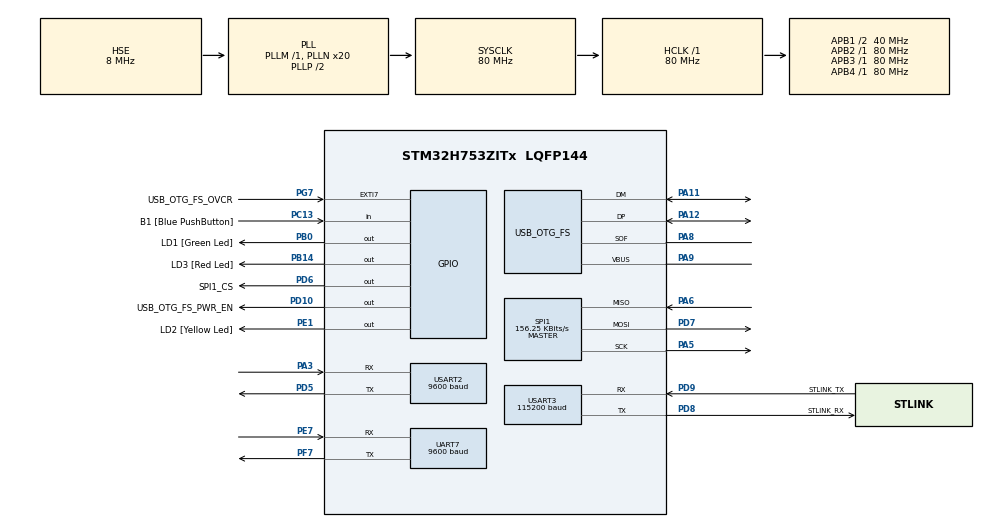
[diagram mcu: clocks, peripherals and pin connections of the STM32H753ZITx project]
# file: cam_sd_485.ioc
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CORTEX_M7.CPU_DCache=Disabled
CORTEX_M7.CPU_ICache=Disabled
CORTEX_M7.MPU_Control=__NULL
Dma.Request0=UART7_RX
Dma.UART7_RX.0.Direction=DMA_PERIPH_TO_MEMORY
Dma.UART7_RX.0.EventEnable=DISABLE
Dma.UART7_RX.0.FIFOMode=DMA_FIFOMODE_DISABLE
Dma.UART7_RX.0.Instance=DMA1_Stream0
Dma.UART7_RX.0.MemDataAlignment=DMA_MDATAALIGN_BYTE
Dma.UART7_RX.0.MemInc=DMA_MINC_ENABLE
Dma.UART7_RX.0.Mode=DMA_CIRCULAR
Dma.UART7_RX.0.PeriphDataAlignment=DMA_PDATAALIGN_BYTE
Dma.UART7_RX.0.PeriphInc=DMA_PINC_DISABLE
Dma.UART7_RX.0.Polarity=HAL_DMAMUX_REQ_GEN_RISING
Dma.UART7_RX.0.Priority=DMA_PRIORITY_LOW
Dma.UART7_RX.0.RequestNumber=1
Dma.UART7_RX.0.SignalID=NONE
Dma.UART7_RX.0.SyncEnable=DISABLE
Dma.UART7_RX.0.SyncPolarity=HAL_DMAMUX_SYNC_NO_EVENT
Dma.UART7_RX.0.SyncRequestNumber=1
Dma.UART7_RX.0.SyncSignalID=NONE
FATFS._USE_LFN=1
Mcu.Family=STM32H7
Mcu.Name=STM32H753ZITx
Mcu.Package=LQFP144
NVIC.DMA1_Stream0_IRQn=true\:0\:0\:false\:false\:true\:false\:true\:true
NVIC.PriorityGroup=NVIC_PRIORITYGROUP_4
NVIC.UART7_IRQn=true\:0\:0\:false\:false\:true\:true\:true\:true
PA1.Signal=ETH_REF_CLK
PA11.Mode=Device_Only
PA11.Signal=USB_OTG_FS_DM
PA12.Mode=Device_Only
PA12.Signal=USB_OTG_FS_DP
PA2.Signal=ETH_MDIO
PA3.Mode=Asynchronous
PA3.Signal=USART2_RX
PA5.Mode=Full_Duplex_Master
PA5.Signal=SPI1_SCK
PA6.Mode=Full_Duplex_Master
PA6.Signal=SPI1_MISO
PA7.Signal=ETH_CRS_DV
PA8.Mode=Activate_SOF_FS
PA8.Signal=USB_OTG_FS_SOF
PA9.Mode=Activate_VBUS
PA9.Signal=USB_OTG_FS_VBUS
PB0.GPIO_Label=LD1 [Green Led]
PB0.Signal=GPIO_Output
PB13.Signal=ETH_TXD1
PB14.GPIO_Label=LD3 [Red Led]
PB14.Signal=GPIO_Output
PC1.Signal=ETH_MDC
PC13.GPIO_Label=B1 [Blue PushButton]
PC13.Signal=GPIO_Input
PC14-OSC32_IN\ (OSC32_IN).Mode=LSE-External-Oscillator
PC14-OSC32_IN\ (OSC32_IN).Signal=RCC_OSC32_IN
PC15-OSC32_OUT\ (OSC32_OUT).Mode=LSE-External-Oscillator
PC15-OSC32_OUT\ (OSC32_OUT).Signal=RCC_OSC32_OUT
PC4.Signal=ETH_RXD0
PC5.Signal=ETH_RXD1
PD10.GPIO_Label=USB_OTG_FS_PWR_EN
PD10.Signal=GPIO_Output
PD5.Mode=Asynchronous
PD5.Signal=USART2_TX
PD6.GPIO_Label=SPI1_CS
PD6.Signal=GPIO_Output
PD7.Mode=Full_Duplex_Master
PD7.Signal=SPI1_MOSI
PD8.GPIO_Label=STLINK_RX
PD8.Mode=Asynchronous
PD8.Signal=USART3_TX
PD9.GPIO_Label=STLINK_TX
PD9.Mode=Asynchronous
PD9.Signal=USART3_RX
PE1.GPIO_Label=LD2 [Yellow Led]
PE1.Signal=GPIO_Output
PE7.Mode=Asynchronous
PE7.Signal=UART7_RX
PF7.Mode=Asynchronous
PF7.Signal=UART7_TX
PG11.Signal=ETH_TX_EN
PG13.Signal=ETH_TXD0
PG7.GPIO_Label=USB_OTG_FS_OVCR
PG7.Signal=GPXTI7
PH0-OSC_IN\ (PH0).Mode=HSE-External-Clock-Source
PH0-OSC_IN\ (PH0).Signal=RCC_OSC_IN
PH1-OSC_OUT\ (PH1).Signal=RCC_OSC_OUT
ProjectManager.HeapSize=0x200
ProjectManager.StackSize=0x400
ProjectManager.TargetToolchain=STM32CubeIDE
RCC.ADCFreq_Value=16125000
RCC.APB1Freq_Value=40000000
RCC.APB2Freq_Value=80000000
RCC.APB3Freq_Value=80000000
RCC.APB4Freq_Value=80000000
RCC.CortexFreq_Value=80000000
RCC.D2PPRE1=RCC_APB1_DIV2
RCC.DIVM1=1
RCC.DIVN1=20
RCC.DIVQ1=4
RCC.HCLKFreq_Value=80000000
RCC.HSE_VALUE=8000000
RCC.PLL2FRACN=0
RCC.PLL3FRACN=0
RCC.PLL3_VCO_SEL-AdvancedSettings=RCC_PLL3VCOMEDIUM
RCC.PLLFRACN=0
RCC.PWR_Regulator_Voltage_Scale=PWR_REGULATOR_VOLTAGE_SCALE2
RCC.SYSCLKFreq_VALUE=80000000
RCC.SYSCLKSource=RCC_SYSCLKSOURCE_PLLCLK
RCC.USBFreq_Value=40000000
SPI1.BaudRatePrescaler=SPI_BAUDRATEPRESCALER_256
SPI1.CalculateBaudRate=156.25 KBits/s
SPI1.DataSize=SPI_DATASIZE_8BIT
SPI1.Direction=SPI_DIRECTION_2LINES
SPI1.Mode=SPI_MODE_MASTER
SPI1.VirtualType=VM_MASTER
UART7.BaudRate=9600
UART7.FIFOMode=FIFOMODE_DISABLE
USART2.BaudRate=9600
USART2.VirtualMode-Asynchronous=VM_ASYNC
USART2.WordLength=WORDLENGTH_8B
USART3.AutoBaudRateEnableParam=UART_ADVFEATURE_AUTOBAUDRATE_DISABLE
USART3.BaudRate=115200
USART3.ClockPrescaler=PRESCALER_DIV1
USART3.DMADisableonRxErrorParam=ADVFEATURE_DMA_ENABLEONRXERROR
USART3.DataInvertParam=ADVFEATURE_DATAINV_DISABLE
USART3.FIFOMode=FIFOMODE_DISABLE
USART3.MSBFirstParam=ADVFEATURE_MSBFIRST_DISABLE
USART3.Mode=MODE_TX_RX
USART3.OneBitSampling=UART_ONE_BIT_SAMPLE_DISABLE
USART3.OverSampling=UART_OVERSAMPLING_16
USART3.OverrunDisableParam=ADVFEATURE_OVERRUN_ENABLE
USART3.Parity=PARITY_NONE
USART3.RXFIFOThreshold=RXFIFO_THRESHOLD_1EIGHTHFULL
USART3.RxPinLevelInvertParam=ADVFEATURE_RXINV_DISABLE
USART3.StopBits=STOPBITS_1
USART3.SwapParam=ADVFEATURE_SWAP_DISABLE
USART3.TXFIFOThreshold=TXFIFO_THRESHOLD_1EIGHTHFULL
USART3.TxPinLevelInvertParam=ADVFEATURE_TXINV_DISABLE
USART3.VirtualMode-Asynchronous=VM_ASYNC
USART3.WordLength=WORDLENGTH_8B
USB_OTG_FS.Sof_enable=ENABLE
USB_OTG_FS.VirtualMode=Device_Only
USB_OTG_FS.battery_charging_enable=ENABLE
USB_OTG_FS.low_power_enable=DISABLE
USB_OTG_FS.lpm_enable=DISABLE
USB_OTG_FS.use_dedicated_ep1=DISABLE
USB_OTG_FS.vbus_sensing_enable=ENABLE
VP_FATFS_VS_Generic.Mode=User_defined
board=NUCLEO-H753ZI

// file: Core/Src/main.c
/* USER CODE BEGIN Header */
/**
  ******************************************************************************
  * @file           : main.c
  * @brief          : Main program body
  ******************************************************************************
  * @attention
  *
  * Copyright (c) 2025 STMicroelectronics.
  * All rights reserved.
  *
  * This software is licensed under terms that can be found in the LICENSE file
  * in the root directory of this software component.
  * If no LICENSE file comes with this software, it is provided AS-IS.
  *
  ******************************************************************************
  */
/* USER CODE END Header */
#include "main.h"
#include "fatfs.h"

/* USER CODE BEGIN Includes */
/* que funcione plox, tengo que chambeaaarr xdxd
 * cambio en la computadora
 * prueba de coommit en CubeIDE, carajoo
 *asdasdasdasdsadasdasdaadsadas
 *asdasdasdasdsadasdasdaadsadas
 *asdasdasdasdsadasdasdaadsadas
 *assdfsd
 *tmre
 */
#include <stdio.h>
#include <string.h>
#include <stdarg.h>
#include <stdbool.h>
#include "IMG_20250425_000083.h"

/* USER CODE END Includes */

/* USER CODE BEGIN PD */

/* ---- CONFIGURE THIS ---- */
#define LINK_UART_HANDLE  huart7          // <--- change to your UART handle (huart3, huart7, etc.)
#define SAVE_FILENAME     "im11confe.JPG"    // file on the SD card to send
/* ------------------------ */

#define CHUNK          256u
#define SOF0           0x55
#define SOF1           0xAA
#define ACK            0x06
#define NAK            0x15
#define UART_TMO_MS    2500

extern UART_HandleTypeDef LINK_UART_HANDLE;

static int generar_nombre_unico(char *out, size_t out_sz);
char filename[40];

/* USER CODE END PD */

SPI_HandleTypeDef hspi1;

UART_HandleTypeDef huart7;
UART_HandleTypeDef huart2;
UART_HandleTypeDef huart3;
DMA_HandleTypeDef hdma_uart7_rx;

PCD_HandleTypeDef hpcd_USB_OTG_FS;

/* USER CODE BEGIN PV */

extern const uint8_t IMG_20250425_000083[];
extern const uint32_t IMG_20250425_000083_SIZE;

/* ---------- intentos.txt helpers ---------------------------------- */
static const char *ATTEMPT_FILE = "intentos.txt";
static uint32_t    imgNumber    = 0;          /* number for current image */

void myprintf(const char *fmt, ...);

/* fixed date like your sketch; swap for RTC later */
static void fecha_yyyymmdd(char *dst) { strcpy(dst, "20250101"); }

/* IMG_YYYYMMDD_NNNNNN.JPG with FatFS existence check */
static int generar_nombre_unico(char *out, size_t out_sz) {
    if (!out || out_sz < 32) return -1;
    char ymd[9]; fecha_yyyymmdd(ymd);
    FATFS fs; FIL file; FRESULT fr; UINT bw;
    //myprintf("inicializacion\r\n");
    MX_FATFS_Init();
    fr = f_mount(&fs, "", 1);
    if (fr != FR_OK) { return -100; }
    FILINFO fno;
    for (unsigned i = 0; i < 1000000U; i++) {
        int n = snprintf(out, out_sz, "IMG_%s_%06u.JPG", ymd, i);
        if (n <= 0 || (size_t)n >= out_sz) return -2;
        FRESULT fr = f_stat(out, &fno);
        if (fr == FR_NO_FILE) return 0;      // available
        if (fr != FR_OK && fr != FR_EXIST) return -3;
    }
    return -4;
}

/* USER CODE END PV */

void SystemClock_Config(void);
static void MX_GPIO_Init(void);
static void MX_DMA_Init(void);
static void MX_SPI1_Init(void);
static void MX_UART7_Init(void);
static void MX_USART3_UART_Init(void);
static void MX_USB_OTG_FS_PCD_Init(void);
static void MX_USART2_UART_Init(void);

/* USER CODE BEGIN 0 */

FATFS   FatFs;     /* FatFs handle      */
FIL     fil;       /* File handle (reuse for both .JPG and intentos.txt) */
FRESULT fres;

void myprintf(const char *fmt, ...) {
  static char buffer[256];
  va_list args;
  va_start(args, fmt);
  vsnprintf(buffer, sizeof(buffer), fmt, args);
  va_end(args);

  int len = strlen(buffer);
  HAL_UART_Transmit(&huart2, (uint8_t*)buffer, len, -1);

}

void recibido(uint8_t cab6){
  switch(cab6){
   case 0x01:
	//payload_total[0]=0x01; /*TomaFotoSD*/
	break;
   case 0x02:
	//payload_total[0]=0x02; /*EnvíoFotoPaySTM32*/
	break;
   case 0x03:
	//payload_total[0]=0x03; /*TomaFotoALmacYenviaPayload*/
	break;
   case 0x04:
	myprintf("\r\n MicroSD inicializo BIEN \r\n\r\n");
    break;
   case 0x05:
	myprintf("\r\n MicroSD inicializo MAL \r\n\r\n");
	break;
   case 0x06:
	myprintf("\r\n Camara inicializo BIEN \r\n\r\n");
	break;
   case 0x07:
	myprintf("\r\n Camara inicializo MAL \r\n\r\n");
	break;
   default:
    myprintf("\r\n No entendi causha \r\n\r\n");
  }

}

static inline void uart_flush_rx_polling(UART_HandleTypeDef *huart)
{
    uint8_t dump;
    while (HAL_UART_Receive(huart, &dump, 1, 0) == HAL_OK) {
        /* discard */
    }
    /* If an overrun happened, clear it so RX keeps working */
    __HAL_UART_CLEAR_OREFLAG(huart);
}

static uint32_t get_last_attempt(void)
{
    uint32_t last = 0;

    fres = f_open(&fil, ATTEMPT_FILE, FA_READ);
    if (fres == FR_OK) {
        char line[32];
        while (f_gets(line, sizeof line, &fil)) {
            uint32_t n;
            if (sscanf(line, "%lu", &n) == 1) last = n;
        }
        f_close(&fil);
    }   /* else: file not found – treat as zero  */

    return last;
}

/* --- append a number to intentos.txt ----------------------------------- */
static void log_attempt(uint32_t num)
{
    fres = f_open(&fil, ATTEMPT_FILE, FA_OPEN_APPEND | FA_WRITE);
    if (fres == FR_OK) {
        char line[16];
        UINT bw;
        int len = sprintf(line, "\r\n\r\n%lu\r\n", num);
        myprintf(line, "\r\n\r\n%lu\r\n", num);
        f_write(&fil, line, len, &bw);
        f_close(&fil);
    }
}

/* ===== CRC16-CCITT (poly 0x1021, init 0xFFFF) ===== */
static uint16_t crc16_ccitt(const uint8_t *data, uint32_t len)
{
    uint16_t crc = 0xFFFF;
    for (uint32_t i = 0; i < len; i++) {
        crc ^= ((uint16_t)data[i]) << 8;
        for (uint8_t b = 0; b < 8; b++) {
            crc = (crc & 0x8000) ? (uint16_t)((crc << 1) ^ 0x1021) : (uint16_t)(crc << 1);
        }
    }
    return crc;
}

/* ===== UART helpers ===== */
static int uart_send(const void *p, uint16_t n)
{
    return (HAL_UART_Transmit(&LINK_UART_HANDLE, (uint8_t*)p, n, HAL_MAX_DELAY) == HAL_OK) ? 0 : -1;
}
static bool uart_try_read(uint8_t *ch)  // non-blocking single byte
{
    return (HAL_UART_Receive(&LINK_UART_HANDLE, ch, 1, UART_TMO_MS) == HAL_OK);
}

/* ===== ACK/NAK helper ===== */
static int send_ack(uint16_t seq, uint8_t code)
{

	uint8_t a[3] = { code, (uint8_t)seq, (uint8_t)(seq >> 8) };
	HAL_UART_Transmit(&huart3, a, 3, HAL_MAX_DELAY);
    return uart_send(a, 3);
}

/* ===== Detect "SZ + size" header without blocking main loop ===== */
static bool detect_header_nonblocking(uint32_t *out_size)
{
    static uint8_t state = 0;
    static uint8_t sizebuf[4];
    static uint8_t idx = 0;
    uint8_t ch;
    myprintf("\r\n entre al header \r\n\r\n");
    //myprintf("Entro detect header \r\n");
    // Slurp any available bytes quickly
    while (uart_try_read(&ch)) {
        switch (state) {
        case 0:  state = (ch == 'S') ? 1 : 0; break;
        case 1:  state = (ch == 'Z') ? 2 : 0; idx = 0; break;
        case 2:
            sizebuf[idx++] = ch;
            if (idx == 4) {
                *out_size = (uint32_t)sizebuf[0]
                          | ((uint32_t)sizebuf[1] << 8)
                          | ((uint32_t)sizebuf[2] << 16)
                          | ((uint32_t)sizebuf[3] << 24);
                //uint16_t seq, len;
                //send_ack(seq, ACK);

                uint8_t ack = ACK; // tell sender we're ready
                //int e = uart_send(&ack, 1);
                int e = HAL_UART_Transmit(&LINK_UART_HANDLE, &ack, 1, HAL_MAX_DELAY);
                HAL_UART_Transmit(&huart3, &ack, 1, HAL_MAX_DELAY);
                state = 0;
                myprintf("envio fue = %d \r\n", e);
                //myprintf("El envio fue 0x%02X\r\n", (unsigned)e);
                return true;

            }
            break;
        }
    }
    return false;
}

/* ===== Receive one frame (blocking small reads) ===== */
static int recv_frame(uint16_t *seq, uint8_t *payload, uint16_t *len)
{
    uint8_t b;

    // Hunt SOF
    do {
        if (HAL_UART_Receive(&LINK_UART_HANDLE, &b, 1, UART_TMO_MS) != HAL_OK) return -1;
    } while (b != SOF0);
    if (HAL_UART_Receive(&LINK_UART_HANDLE, &b, 1, UART_TMO_MS) != HAL_OK || b != SOF1) return -2;

    uint8_t hdr[4];
    if (HAL_UART_Receive(&LINK_UART_HANDLE, hdr, 4, UART_TMO_MS) != HAL_OK) return -3;

    uint16_t seq_le = (uint16_t)hdr[0] | ((uint16_t)hdr[1] << 8);
    uint16_t l      = (uint16_t)hdr[2] | ((uint16_t)hdr[3] << 8);
    if (l == 0 || l > CHUNK) return -4;

    if (HAL_UART_Receive(&LINK_UART_HANDLE, payload, l, UART_TMO_MS) != HAL_OK) return -5;

    uint8_t crcb[2];
    if (HAL_UART_Receive(&LINK_UART_HANDLE, crcb, 2, UART_TMO_MS) != HAL_OK) return -6;
    uint16_t rxcrc = (uint16_t)crcb[0] | ((uint16_t)crcb[1] << 8);

    uint16_t calcc = crc16_ccitt(payload, l);
    if (rxcrc != calcc) { *seq = seq_le; return -7; }

    *seq = seq_le; *len = l;
    return 0;
}

/* ===== Receive file AFTER header has been detected ===== */
int receive_frames_after_header(const char *save_path, uint32_t expected_size)
{
    FRESULT fr;
    FATFS   fs;
    FIL     f;
    UINT    bw;
    static uint8_t buf[CHUNK];

    MX_FATFS_Init();
    fr = f_mount(&fs, "", 1); if (fr != FR_OK){myprintf("Estoy aqui \r\n"); return -100;}

    fr = f_open(&f, save_path, FA_WRITE | FA_CREATE_ALWAYS);
    if (fr != FR_OK) { f_mount(NULL, "", 0);myprintf("Estoy aqui x2 \r\n"); return -101; }

    uint32_t received = 0;
    uint16_t expect_seq = 0;
    myprintf("Abrio, antes de while  \r\n");
    //uint16_t seq, len;
    //send_ack(seq, ACK);

    while (received < expected_size) {

        uint16_t seq, len;
        //send_ack(seq, ACK);

        int r = recv_frame(&seq, buf, &len);
        //myprintf("R = %d \r\n", r);
        HAL_Delay(150);
        if (r == 0 && seq == expect_seq) {
        	//myprintf("Recibio x3 \r\n");
            fr = f_write(&f, buf, len, &bw);
            if (fr != FR_OK || bw != len) {
            	myprintf("F \r\n");
                send_ack(seq, NAK);
                f_close(&f); f_mount(NULL,"",0);
                return -102;
            }
            received += len;
            send_ack(seq, ACK);

            expect_seq++;
        }
        /*
        else {
            uint16_t nak_seq = (r == 0) ? expect_seq : seq;
            send_ack(nak_seq, NAK);
            myprintf("Else NAK \r\n");
        }
        */
        else {
            // r == 0 but wrong seq  -> out-of-order/duplicate: NAK that seq
            // r == -7 (CRC fail)    -> we set *seq inside recv_frame: NAK that seq
            // r < 0 before seq known (timeout/parse error): DO NOT NAK
            if (r == 0) {
                send_ack(seq, NAK);
            } else if (r == -7) {
                send_ack(seq, NAK);
            } else {
            	myprintf("No NAK  \r\n");
            	//send_ack(seq, ACK);
                // just wait; don't spam NAKs when no frame was seen yet
                // optional: small delay to avoid hot loop
                //HAL_Delay(1);
            }
        }

        myprintf("received = %lu bytes\r\n", (unsigned long)received);
    }

    f_sync(&f);
    f_close(&f);
    myprintf("termino\r\n", (unsigned long)received);
    f_mount(NULL, "", 0);
    return 0;
}

/* ===== Call this from your main loop ===== */
static bool receiving = false;
static uint32_t pending_size = 0;

void user_loop_receiver(void)
{
    if (!receiving) {
        if (detect_header_nonblocking(&pending_size)) {
            receiving = true;
            myprintf("Recibio encabezado \r\n");
            myprintf("expected_size = %lu bytes\r\n", (unsigned long)pending_size);
            //HAL_Delay(500);
            (void)generar_nombre_unico(filename, sizeof(filename));
            (void)receive_frames_after_header(filename, pending_size); // blocks until done
            receiving = false;
        }
    }
}

void user_loop_receiver_while(void)
{
    int a=1;
	while (a==1) {
        if (detect_header_nonblocking(&pending_size)) {
            receiving = true;
            char filename[40];
            myprintf("Recibio encabezado \r\n");
            myprintf("expected_size = %lu bytes\r\n", (unsigned long)pending_size);
            //HAL_Delay(500);
            (void)generar_nombre_unico(filename, sizeof(filename));
            (void)receive_frames_after_header(filename, pending_size); // blocks until done
            receiving = false;
            a=0;
            break;
        }
        myprintf("no pasa nada\r\n");

    }
}
/* ================== END H753 RECEIVER ================== */

/* **************************************** Programacion de comandos ********************************************/

/************************************************
 Declaracion de cabeceras, payload y variables
 ************************************************/

uint8_t TA = 0x88; /*TA=TargetAddress (Address del Payload)*/
uint8_t SA = 0x05; /*SA=SourceAddress (Address del OBC)*/

// para el payload al reves
//PPID=0x01;

/*PPID=PayloadProtocolID
(Define las funciones
 Toma de foto camara 1: id=0x01
 Toma de foto camara 2: id=0x02)*/
uint8_t PPID;
uint8_t cab6;

/*PS=PayloadSize (Tamaño del payload)
 PayloadComando= 1-2bytes
 PayloadData= 1-255bytes*/
uint8_t PS;

/*Payload*/
uint8_t payload_total[255];
uint8_t payload_envio[]={};

/*CRC32*/
uint32_t CRC32;

/*Variable*/
uint8_t count;
uint8_t val;

/*Funcion generadora del CRC16 */
uint16_t gener_crc16 (uint8_t TA,uint8_t SA,uint8_t PPID,uint8_t PS){

	 /***************************************************
	  * Definicion de variables y algoritmo para el CRC16
	  * Con inversion de bits
	  * CRC-CCITT-BR (bit reverse): LSB first
	  * CRC16, G(x)=0x1021 (algoritmo)
	  * CRC initial: 0XFFFF
	  * Cabecera inicial: 0x88 0x05 0x01 0x01
	  * Cabecera invertida: 0x80 0x80 0xA0 0x11
	  ***************************************************/
	  uint16_t G_X = 0x1021; // Polynomial generator
	  uint16_t CRC16 = 0xFFFF;
	  uint8_t arreglo[4] = {TA,SA,PPID,PS};//Se aumento PPID,PS
	  uint8_t InvArreglo[4] = {};
	  uint8_t InvBits[4] ={}; //Arreglo de bits invertidos de la cabecera  (LSB first)
	  uint8_t Temp;
	  uint8_t Fin=0x00;
	  uint8_t n = sizeof(arreglo)/sizeof(arreglo[0]);

	  //Se invierten los elementos del array
	  //Cabecera actual: 0x01 0x01 0x05 0x88
	  for(int i=0; i<n; i++){
		  InvArreglo[i]=arreglo[n-i-1];
	  }

	  //InvArreglo[0]=0x35;

	  //Se invierten los bits de los elementos del array
	  //Cabecera LBS: 0x80 0x80 0xA0 0x11
	  for(int j=0; j<n;j++){
		  for(int i=0; i<8; i++){
			  Temp=InvArreglo[j]&(0x80);
			  //InvBits[0]=InvArreglo[1];
			  //HAL_UART_Transmit(&huart2,InvBits,sizeof(InvBits),100);// Sending in normal mode
			  //HAL_Delay(1000);
			  if(Temp!=0x00){
				  Fin=(Fin>>1);
				  Fin=Fin|(0x80);
				  InvArreglo[j]=(InvArreglo[j]<<1);
				  // InvBits[0]=Fin;
				  // HAL_UART_Transmit(&huart2,InvBits,sizeof(InvBits),100);// Sending in normal mode
				  // HAL_Delay(1000);
			  }else{
				  Fin=(Fin>>1);
				  InvArreglo[j]=(InvArreglo[j]<<1);
				  //InvBits[0]=InvArreglo[0];
				  //HAL_UART_Transmit(&huart2,InvBits,sizeof(InvBits),100);// Sending in normal mode
				  //HAL_Delay(1000);
			  }
		  }
		  InvBits[j]=Fin;
		  Fin=0x00;
	  }

	  //Algoritmo para la generación del CRC16 de la cabecera invertida
	  for(int i=0; i<sizeof(InvBits)/sizeof(InvBits[0]); i++){
	  	  CRC16 ^= (uint16_t)(InvBits[i]<<8);

	  	  for (int i=0; i<8; i++){
	  		  if ((CRC16 & 0x8000) != 0){
	  			  CRC16 = (uint16_t)((CRC16 <<1)^G_X);
	  		  }else{
	  			  CRC16 <<=1;
	  		  }
	  	  }
	   }

	  return CRC16;

	  // El CRC16 de 0x8805 = 0xC294
	  // El CRC16 de 0x88050101 = 0x901B
	  // El CRC16 de 0x8080A011 (0x88050101 invertido) = 0x7DCC

	  /*uint8_t CRC16_0 = (uint8_t)(CRC16 & 0x00FF);
	  uint8_t CRC16_1 = (uint8_t)((CRC16 >> 8)& 0x00FF);*/
}
/*******************************************************************************************************************/

/*Funcion generadora del CRC32*/
uint32_t gener_crc32 (uint8_t TA,uint8_t SA,uint8_t PPID,uint8_t PS,uint8_t CRC16_1, uint8_t CRC16_0,uint8_t payload_envio_0){

	/***************************************************
	   * Definicion de variables y algoritmo para el CRC32
	   * Con inversion de bits
	   * CRC-CRC32-ISO3309, LSB first
	   * CRC32, G(x)= 0x04C11DB7 (algoritmo)
	   * CRC initial: 0xFFFFFFFF
	   * Prueba inicial: 0x88 05 01 01 7D CC 01
	  **************************************************/
	  uint32_t G_Y = 0x04C11DB7; // Polynomial generator
	  uint32_t CRC32 = 0xFFFFFFFF;
	  uint8_t arreglo2[7]={TA,SA,PPID,PS,CRC16_1,CRC16_0,payload_envio_0};

	  uint8_t InvArreglo2[7] = {};
	  uint8_t InvBits2[7] ={}; //Arreglo de bits invertidos de la cabecera  (LSB first)
	  //uint8_t InvBits3[1]={};
	  uint8_t Temp2;
	  uint8_t Fin2=0x00;
	  uint8_t n2 = sizeof(arreglo2)/sizeof(arreglo2[0]);

	  //Se invierten los elementos del array
	  //Frame actual: 0x01 0xCC 0x7D 0x01 0x01 0x05 0x88
	  for(int i=0; i<n2; i++){
		  InvArreglo2[i]=arreglo2[n2-i-1];
	  }

	  //Se invierten los bits de los elementos del array
	  //Frame LBS: 0x80 0x33 0xBE 0x80 0x80 0xA0 0x11
	  for(int j=0; j<n2;j++){
	  	  for(int i=0; i<8; i++){
	  		  Temp2=InvArreglo2[j]&(0x80);
	    	   	  //InvBits3[0]=InvArreglo2[j];
	    	   	  //HAL_UART_Transmit(&huart2,InvBits3,sizeof(InvBits3),100);// Sending in normal mode
	    	   	  //HAL_Delay(1000);
	  		  if(Temp2!=0x00){
	  			  Fin2=(Fin2>>1);
	  			  Fin2=Fin2|(0x80);
	  			  InvArreglo2[j]=(InvArreglo2[j]<<1);
	    	   		  //InvBits3[0]=Fin2;
	    	   		  //HAL_UART_Transmit(&huart2,InvBits3,sizeof(InvBits3),100);// Sending in normal mode
	    	   		  //HAL_Delay(1000);
	  		  }else{
	  			  Fin2=(Fin2>>1);
	  			  InvArreglo2[j]=(InvArreglo2[j]<<1);
	  			  //InvBits[0]=InvArreglo[0];
	    	   		  //HAL_UART_Transmit(&huart2,InvBits,sizeof(InvBits),100);// Sending in normal mode
	    	   		  //HAL_Delay(1000);
	  		  }
	  	  }
	  	  InvBits2[j]=Fin2;
	  	  Fin2=0x00;
	  }

	  //InvBits3[0]=InvBits2[6];
	  //HAL_UART_Transmit(&huart2,InvBits3,sizeof(InvBits3),100);// Sending in normal mode
	  //HAL_Delay(1000);

	  //Algoritmo para la generación del CRC32 de la cabecera invertida
	  for(int j=0; j<sizeof(InvBits2)/sizeof(InvBits2[0]); j++){
	  	  CRC32 ^= (uint32_t)(InvBits2[j]<<24);

	  	  for (int j=0; j<8; j++){
	  		  if ((CRC32 & 0x80000000) != 0){
	  			  CRC32 = (uint32_t)((CRC32 <<1)^G_Y);
	  		  }else{
	  			  CRC32 <<=1;
	  		  }
	  	  }
	  }

	  return CRC32;

	  // El CRC32 de 0x88050101 = 0x486ABA9C
	  // El CRC32 de 0x8033BE8080A011 = 0x81C46721
	  /*uint8_t CRC32_byte3 = (uint8_t)((CRC32 >> 24) & 0xFF);//MSB
	  uint8_t CRC32_byte2 = (uint8_t)((CRC32 >> 16) & 0xFF);
	  uint8_t CRC32_byte1 = (uint8_t)((CRC32 >> 8) & 0xFF);
	  uint8_t CRC32_byte0 = (uint8_t)(CRC32 & 0xFF);//LSB*/
}

/****************************************
 * Funciones generan CRC16 y CRC32 de comandos de recepcion
 ***************************************/
bool gener_crc16_rx(uint8_t *cabecera,uint8_t size_cabecera,uint8_t *cab){

		    uint16_t G_X = 0x1021; // Polynomial generator
		    uint16_t CRC16 = 0xFFFF;
		    uint8_t InvArreglo[4] = {};
		    uint8_t Temp;
		    uint8_t InvBits[4] ={}; //Arreglo de bits invertidos de la cabecera  (LSB first)
		    uint8_t Fin=0x00;

		    //Se invierten los elementos del array
		    for(int i=0; i<size_cabecera; i++){
		    	InvArreglo[i]=cabecera[size_cabecera-i-1];
		    }
		    //myprintf("%02X %02X %02X %02X\n",InvArreglo[0],InvArreglo[1],InvArreglo[2],InvArreglo[3]);

		    //Se invierten los bits de los elementos del array
		    for(int j=0; j<size_cabecera;j++){
		    	for(int i=0; i<8; i++){
		    		Temp=InvArreglo[j]&(0x80);
		    		//InvBits[0]=InvArreglo[1];
		    		//HAL_UART_Transmit(&huart2,InvBits,sizeof(InvBits),100);// Sending in normal mode
		    		//HAL_Delay(1000);
		    		if(Temp!=0x00){
		    			Fin=(Fin>>1);
		    			Fin=Fin|(0x80);
		    			InvArreglo[j]=(InvArreglo[j]<<1);
		    			// InvBits[0]=Fin;
		    			// HAL_UART_Transmit(&huart2,InvBits,sizeof(InvBits),100);// Sending in normal mode
		    			// HAL_Delay(1000);
		    		}else{
		    			Fin=(Fin>>1);
		    			InvArreglo[j]=(InvArreglo[j]<<1);
		    			//InvBits[0]=InvArreglo[0];
		    			//HAL_UART_Transmit(&huart2,InvBits,sizeof(InvBits),100);// Sending in normal mode
		    			//HAL_Delay(1000);
		    		}
		    	}
		    	InvBits[j]=Fin;
		    	Fin=0x00;
		    }
		    //myprintf("%02X %02X %02X %02X\n",InvBits[0],InvBits[1],InvBits[2],InvBits[3]);
		    //Algoritmo para la generación del CRC16 de la cabecera invertida
		    for(int i=0; i<sizeof(InvBits)/sizeof(InvBits[0]); i++){
		    	  CRC16 ^= (uint16_t)(InvBits[i]<<8);

		    	  for (int i=0; i<8; i++){
		    		  if ((CRC16 & 0x8000) != 0){
		    			  CRC16 = (uint16_t)((CRC16 <<1)^G_X);
		    		  }else{
		    			  CRC16 <<=1;
		    		  }
		    	  }
		    }

		    // El CRC16 de 0x8805 = 0xC294
		    // El CRC16 de 0x88050101 = 0x901B
		    // El CRC16 de 0x8080A011 (0x88050101 invertido) = 0x7DCC
		    uint8_t CRC16_0 = (uint8_t)(CRC16 & 0x00FF);
		    uint8_t CRC16_1 = (uint8_t)((CRC16 >> 8)& 0x00FF);

		    //myprintf("%02X %02X \n",CRC16_0,CRC16_1);
		    //myprintf("%02X %02X\n",cab[4],cab[5]);
		    bool status_crc16;
		    if(CRC16_0==cab[4] && CRC16_1==cab[5]){
		  	  status_crc16= true;
		  	  myprintf("El CRC16 se recibio correctamente ... \n");
		  	  myprintf("%02X %02X\n",cab[4],cab[5]);
		  	  return status_crc16;
		    }else{
		  	  status_crc16= false;
		  	  myprintf("El CRC16 no esta correcto ... \n");
		  	  myprintf("%02X %02X\n",cab[4],cab[5]);
		  	  return status_crc16;
		    }
}

bool gener_crc32_rx(uint8_t *payload_cabecera,uint8_t size_cabecera,uint8_t *cab){

			//Algoritmo para la generación del CRC32 de la cabecera invertida
		    uint32_t G_Y = 0x04C11DB7; // Polynomial generator
		    uint32_t CRC32 = 0xFFFFFFFF;
		    uint8_t InvArreglo2[7] = {};
		    uint8_t Temp2;
		    uint8_t Fin2=0x00;
		    uint8_t InvBits2[7] ={};

		    //Se invierten los elementos del array
		    //Frame actual: 0x01 0xCC 0x7D 0x01 0x01 0x05 0x88
		    for(int i=0; i<size_cabecera; i++){
		    	InvArreglo2[i]=payload_cabecera[size_cabecera-i-1];
		    }

		    //Se invierten los bits de los elementos del array
		    //Frame LBS: 0x80 0x33 0xBE 0x80 0x80 0xA0 0x11
		    for(int j=0; j<size_cabecera;j++){
		    	for(int i=0; i<8; i++){
		    		Temp2=InvArreglo2[j]&(0x80);
		    		//InvBits3[0]=InvArreglo2[j];
		    		//HAL_UART_Transmit(&huart2,InvBits3,sizeof(InvBits3),100);// Sending in normal mode
		    		//HAL_Delay(1000);
		    		if(Temp2!=0x00){
		    			Fin2=(Fin2>>1);
		    			Fin2=Fin2|(0x80);
		    			InvArreglo2[j]=(InvArreglo2[j]<<1);
		    			//InvBits3[0]=Fin2;
		    			//HAL_UART_Transmit(&huart2,InvBits3,sizeof(InvBits3),100);// Sending in normal mode
		    			//HAL_Delay(1000);
		    		}else{
		    			Fin2=(Fin2>>1);
		    			InvArreglo2[j]=(InvArreglo2[j]<<1);
		    			//InvBits[0]=InvArreglo[0];
		    			//HAL_UART_Transmit(&huart2,InvBits,sizeof(InvBits),100);// Sending in normal mode
		    			//HAL_Delay(1000);
		    		}
		    	}
		    	InvBits2[j]=Fin2;
		    	Fin2=0x00;
		    }

		    for(int j=0; j<sizeof(InvBits2)/sizeof(InvBits2[0]); j++){
		    	CRC32 ^= (uint32_t)(InvBits2[j]<<24);

		    	  for (int j=0; j<8; j++){
		    		  if ((CRC32 & 0x80000000) != 0){
		    			  CRC32 = (uint32_t)((CRC32 <<1)^G_Y);
		    		  }else{
		    			  CRC32 <<=1;
		    		  }
		    	  }
		    }

		    uint8_t CRC32_byte3 = (uint8_t)((CRC32 >> 24) & 0xFF);//MSB
		    uint8_t CRC32_byte2 = (uint8_t)((CRC32 >> 16) & 0xFF);
		    uint8_t CRC32_byte1 = (uint8_t)((CRC32 >> 8) & 0xFF);
		    uint8_t CRC32_byte0 = (uint8_t)(CRC32 & 0xFF);//LSB

		    bool status_crc32;
		    if(CRC32_byte0==cab[7] && CRC32_byte1==cab[8] && CRC32_byte2==cab[9] && CRC32_byte3==cab[10]){
		  	  status_crc32= true;
		  	  myprintf("El CRC32 se recibio correctamente ... \n");
		  	  myprintf("%02X %02X %02X %02X\n",cab[7],cab[8],cab[9],cab[10]);
		  	  return status_crc32;
		    }else{
		  	  status_crc32= false;
		  	  myprintf("El CRC32 no esta correcto ... \n");
		  	  myprintf("%02X %02X %02X %02X\n",cab[7],cab[8],cab[9],cab[10]);
		  	  return status_crc32;
		    }
}

/*Respuesta de comandos*/

/*******************************************************************************************************************/

/*

uint8_t respuesta(const uint8_t *cab){

	//myprintf("Comando Recibido \n");
	//myprintf("%11X \n",cab);
	//myprintf("Status %d \n",status);
	uint8_t cabecera[4] = {cab[0],cab[1],cab[2],cab[3]};
	uint8_t size_cabecera = sizeof(cabecera)/sizeof(cabecera[0]);

	bool status_crc16= gener_crc16(cabecera,size_cabecera,cab);
	//********************** Verificacion CRC32
	uint8_t payload_cabecera[7] = {cab[0],cab[1],cab[2],cab[3],cab[5],cab[4],cab[6]};
	uint8_t size_payload_cabe = sizeof(payload_cabecera)/sizeof(payload_cabecera[0]);
	//myprintf("entrando al crc32 x1... \n");
	bool status_crc32 = gener_crc32(payload_cabecera,size_payload_cabe,cab);
	HAL_Delay(100);
	return cab[6];
}

*/

uint8_t recibir_comando(void){
	int a =1;
	uint8_t cab[11]={};
	uint8_t comando;
	while (a==1)
	{

		  //************************************* Recibiendo comando *************************************************************
		  //Armado de Protocolo |TA|SA|PPID|PS|CRC16_0|CRC16_1|Payload[0]|CRC32_0|CRC32_1|CRC32_2|CRC32_3|
		  //**********************************************************************************************************************

		    myprintf("Esperando comando ... \n");
		    HAL_StatusTypeDef status_rec = HAL_UART_Receive(&LINK_UART_HANDLE,cab,11,2500);
		    //myprintf("%02X %02X %02X %02X \n",cab[0],cab[1],cab[2],cab[3]);
		    //myprintf("%02X %02X %02X %02X \n",cab[4],cab[5],cab[6],cab[7]);
		    //myprintf("%02X %02X %02X  \n",cab[8],cab[9],cab[10]);

		    myprintf("%02X ..\n",cab[6]);
		    //Verificar si logro recibir el comando

		    //int status;

		    if(status_rec==HAL_OK){
		    	//status=1;
		    	myprintf("Comando Recibido \n");
		    	//HAL_UART_Transmit(&LINK_UART_HANDLE,cab,11,2500);
		    	//myprintf("%11X \n",cab);
		    	//myprintf("Status %d \n",status);
			    uint8_t cabecera[4] = {cab[0],cab[1],cab[2],cab[3]};
			    uint8_t size_cabecera = sizeof(cabecera)/sizeof(cabecera[0]);

			    bool status_crc16= gener_crc16_rx(cabecera,size_cabecera,cab);
			    //********************** Verificacion CRC32
			    uint8_t payload_cabecera[7] = {cab[0],cab[1],cab[2],cab[3],cab[5],cab[4],cab[6]};
			    uint8_t size_payload_cabe = sizeof(payload_cabecera)/sizeof(payload_cabecera[0]);
			    //myprintf("entrando al crc32 x1... \n");
				bool status_crc32 = gener_crc32_rx(payload_cabecera,size_payload_cabe,cab);
				if (status_crc16 == 1 && status_crc32 ==1 ){
					comando =  cab[6];
					a=0;
					break;
				}
				else {
					comando =  0xF0;
					a=0;
					break;
				}
				HAL_Delay(100);
				break;

		    }
		    else{
		    	//status=0;
		    	//myprintf("Status %d \n",status);
		    	//myprintf("Comando no recibido\n");
		    	comando = 0xFF;
		    }
		}
		return comando;
}

uint8_t recibir_comando_pc(void){
	int a =1;
	uint8_t cab[11]={};
	uint8_t comando;

	//************************************* Recibiendo comando *************************************************************
	//Armado de Protocolo |TA|SA|PPID|PS|CRC16_0|CRC16_1|Payload[0]|CRC32_0|CRC32_1|CRC32_2|CRC32_3|
	//**********************************************************************************************************************

	myprintf("Esperando comando de la PC... \n");
	HAL_StatusTypeDef status_rec = HAL_UART_Receive(&huart2,cab,11,2500);
	//myprintf("%02X %02X %02X %02X \n",cab[0],cab[1],cab[2],cab[3]);
	//myprintf("%02X %02X %02X %02X \n",cab[4],cab[5],cab[6],cab[7]);
	//myprintf("%02X %02X %02X  \n",cab[8],cab[9],cab[10]);

	myprintf("%02X ..\n",cab[6]);
	//Verificar si logro recibir el comando
	HAL_Delay(100);
	//int status;

	if(status_rec==HAL_OK){
		//status=1;
		myprintf("Comando Recibido \n");
		//HAL_UART_Transmit(&LINK_UART_HANDLE,cab,11,2500);
		//myprintf("%11X \n",cab);
		//myprintf("Status %d \n",status);
		uint8_t cabecera[4] = {cab[0],cab[1],cab[2],cab[3]};
		uint8_t size_cabecera = sizeof(cabecera)/sizeof(cabecera[0]);

		bool status_crc16= gener_crc16_rx(cabecera,size_cabecera,cab);
		//********************** Verificacion CRC32
		uint8_t payload_cabecera[7] = {cab[0],cab[1],cab[2],cab[3],cab[5],cab[4],cab[6]};
		uint8_t size_payload_cabe = sizeof(payload_cabecera)/sizeof(payload_cabecera[0]);
		//myprintf("entrando al crc32 x1... \n");
		bool status_crc32 = gener_crc32_rx(payload_cabecera,size_payload_cabe,cab);
		if (status_crc16 == 1 && status_crc32 ==1 ){
			comando =  cab[6];
			a=0;

		}
		else {
			comando =  0xF0;
			a=0;

		}
		HAL_Delay(100);

	}
	else{
		//status=0;
		//myprintf("Status %d \n",status);
		myprintf("Comando no recibido\n");
		comando = 0xFF;
	}

	return comando;
}

void respuesta_recibida(uint8_t cab6){
  switch(cab6){
   case 0x01:
	//payload_total[0]=0x01; /*TomaFotoSD*/
	   //enviar_comando(0X01);

	   myprintf("Foto tomada\n");
	   break;
   case 0x02:
	//payload_total[0]=0x02; /*EnvíoFotoPaySTM32*/
	   myprintf("Termino transmicion\n");
	   //enviar_comando(0XFF);
	   break;
   case 0x03:
	   myprintf("Inicializacion terminada \n");
	   myprintf("SD BIEN / CAMARA MAL \n");
	   break;
   case 0x08:
	   myprintf("Inicializacion terminada \n");
	   myprintf("SD BIEN / CAMARA BIEN \n");
	   break;
   case 0x05:
	   myprintf("Inicializacion terminada \n");
	   myprintf("SD MAL / CAMARA BIEN \n");
	   break;
   case 0x06:
	//myprintf("\r\n Camara inicializo BIEN \r\n\r\n");
	   break;
   case 0xF0:
	//myprintf("\r\n Camara inicializo MAL \r\n\r\n");
	   break;
   case 0xFF:
	   //enviar_comando(0XFF);
	   //myprintf("Error CRC malo\n");
	   break;
   default:
	   //enviar_comando(cab6);
   	   myprintf("Error cuaquier webada\n");

  }

}

bool monitor_serial(uint8_t cab6){

	bool valido = true;
	switch(cab6){
		case 0x01:
	//payload_total[0]=0x01; /*TomaFotoSD*/
	   //enviar_comando(0X01);
			myprintf("Solicitando captura de foto\n");
	   //myprintf("Empezando inicializacion\n");
			break;
		case 0x02:
	//payload_total[0]=0x02; /*EnvíoFotoPaySTM32*/
			myprintf("Solicitando transferencia de foto\n");
	   //enviar_comando(0XFF);
	   		break;
		case 0x03:
	   myprintf("SD BIEN / CAMARA MAL \n");
	   	   break;
		case 0x08:
			myprintf("Empezando inicializacion \n");
			break;
		case 0x05:
			myprintf("SD MAL / CAMARA BIEN \n");
			break;
		case 0x06:
	//myprintf("\r\n Camara inicializo BIEN \r\n\r\n");
			break;
		case 0xF0:
	//myprintf("\r\n Camara inicializo MAL \r\n\r\n");
			break;
		case 0xFF:
	   //enviar_comando(0XFF);
			//myprintf("Error CRC malo\n");
			valido = false;
			break;
		default:
	   //enviar_comando(cab6);
			myprintf("Comando errado\n");
			valido = false;
	}
	return valido;

}

void enviar_comando(uint8_t indicador){

	//PPID=indicador; // halla el PPID del frame recibido

	//payload_total[0] = comando_enviado(PPID); //Halla el payload_total con respecto al PPID
	PPID=indicador;
	payload_total[0] = indicador;
	//uint8_t resp[11]={};

	for (int i=0; i<255; i++){
	  val = payload_total[i] & 0b11111111;
	  if (val != 0x00){
		  count=count+1;
	  }
	}

	//payload_envio[0] = payload_total[0];

    //PS = countPay(payload_envio);
	//PS = count;
	payload_envio[0] = payload_total[0];
	PS = 0x01;

    /******************************
    * Hallando el CRC16 y CRC32
    ******************************/
    uint16_t CRC16 = gener_crc16(TA,SA,PPID,PS);

    uint8_t CRC16_0 = (uint8_t)(CRC16 & 0x00FF);
    uint8_t CRC16_1 = (uint8_t)((CRC16 >> 8)& 0x00FF);

    uint32_t CRC32 = gener_crc32(TA,SA,PPID,PS,CRC16_1,CRC16_0,payload_envio[0]);

    uint8_t CRC32_byte3 = (uint8_t)((CRC32 >> 24) & 0xFF);//MSB
    uint8_t CRC32_byte2 = (uint8_t)((CRC32 >> 16) & 0xFF);
    uint8_t CRC32_byte1 = (uint8_t)((CRC32 >> 8) & 0xFF);
    uint8_t CRC32_byte0 = (uint8_t)(CRC32 & 0xFF);//LSB

    uint8_t resp[11] = {TA,SA,PPID,PS,CRC16_0,CRC16_1,payload_envio[0],CRC32_byte0,CRC32_byte1,CRC32_byte2,CRC32_byte3};
    //myprintf("%02X %02X %02X %02X 02X %02X %02X %02X 02X %02X %02X \n",resp[0],resp[1],resp[2],resp[3],resp[4],resp[5],resp[6],resp[7],resp[8],resp[9],resp[10]);
    //myprintf("%02X %02X %02X %02X \n",resp[0],resp[1],resp[2],resp[3]);
    myprintf("%02X %02X %02X %02X \n",resp[4],resp[5],resp[6],resp[7]);
    //myprintf("%02X %02X %02X  \n",resp[8],resp[9],resp[10]);
    HAL_Delay(500);
	//myprintf("Enviando comando ... \n");
	//HAL_UART_Transmit(&huart4,resp,11,2500);
	//myprintf("%X \n",resp);
	//uint8_t cab[] = {CRC32_byte3,CRC32_byte2,CRC32_byte1,CRC32_byte0};
	HAL_StatusTypeDef status_rec = HAL_UART_Transmit(&LINK_UART_HANDLE,resp,11,2500);// Sending in normal mode
	HAL_Delay(500);
	count = 0;

	//myprintf("\r\n  \r\n\r\n");
	//HAL_UART_Transmit(&huart4,payload_total[0],1,2500);
	//myprintf("\r\n %d \r\n\r\n",payload_envio[0]);
	//myprintf("\r\n %d \r\n\r\n",sizeof(payload_envio)/sizeof(payload_envio[0]));

}

/* USER CODE END 0 */

int main(void)
{

  /* MCU Configuration--------------------------------------------------------*/

  /* Reset of all peripherals, Initializes the Flash interface and the Systick. */
  HAL_Init();

  /* Configure the system clock */
  SystemClock_Config();

  /* Initialize all configured peripherals */
  MX_GPIO_Init();
  MX_DMA_Init();
  MX_SPI1_Init();
  MX_UART7_Init();
  MX_USART3_UART_Init();
  MX_USB_OTG_FS_PCD_Init();
  MX_USART2_UART_Init();
  MX_FATFS_Init();
  /* USER CODE BEGIN 2 */
  myprintf("\r\n~ SD card demo by kiwih ~\r\n\r\n");

  HAL_Delay(2000); //a short delay is important to let the SD card settle

  //some variables for FatFs
  FATFS FatFs; 	//Fatfs handle
  FIL fil; 		//File handle
  FRESULT fres; //Result after operations

  //Open the file system
  fres = f_mount(&FatFs, "", 1); //1=mount now
  if (fres != FR_OK) {
	myprintf("f_mount error (%i)\r\n", fres);
	while(1);
  }

  //Let's get some statistics from the SD card
  DWORD free_clusters, free_sectors, total_sectors;

  FATFS* getFreeFs;

  fres = f_getfree("", &free_clusters, &getFreeFs);
  if (fres != FR_OK) {
	myprintf("f_getfree error (%i)\r\n", fres);
	while(1);
  }

  //Formula comes from ChaN's documentation
  total_sectors = (getFreeFs->n_fatent - 2) * getFreeFs->csize;
  free_sectors = free_clusters * getFreeFs->csize;

  myprintf("SD card stats:\r\n%10lu KiB total drive space.\r\n%10lu KiB available.\r\n", total_sectors / 2, free_sectors / 2);
  HAL_Delay(1000);

  HAL_GPIO_WritePin(LD1_GPIO_Port, LD1_Pin | LD3_Pin, GPIO_PIN_SET);   // PB0 + PB14
  HAL_GPIO_WritePin(LD2_GPIO_Port, LD2_Pin,          GPIO_PIN_SET);   // PE1

  uint32_t t0 = HAL_GetTick();          /* non-blocking delay loop */
  while (HAL_GetTick() - t0 < 2000U) __NOP();

  HAL_GPIO_WritePin(LD1_GPIO_Port, LD1_Pin | LD3_Pin, GPIO_PIN_RESET);
  HAL_GPIO_WritePin(LD2_GPIO_Port, LD2_Pin,          GPIO_PIN_RESET);

  HAL_GPIO_WritePin(LD1_GPIO_Port, LD1_Pin | LD3_Pin, GPIO_PIN_SET);   // PB0 + PB14
  HAL_GPIO_WritePin(LD2_GPIO_Port, LD2_Pin,          GPIO_PIN_SET);   // PE1

  while (HAL_GetTick() - t0 < 2000U) __NOP();

  HAL_GPIO_WritePin(LD1_GPIO_Port, LD1_Pin | LD3_Pin, GPIO_PIN_RESET);
  HAL_GPIO_WritePin(LD2_GPIO_Port, LD2_Pin,          GPIO_PIN_RESET);

 // HAL_UARTEx_ReceiveToIdle_DMA(&huart7, uartRxBuf, sizeof(uartRxBuf));
 // __HAL_DMA_DISABLE_IT(huart7.hdmarx, DMA_IT_HT);   // we only need TC & IDLE
  myprintf("Ready waiting for 0x55 0xAA \r\n");
  HAL_Delay(1000);

  /*
  myprintf("Prueba_wardardo de imagen con h \r\n");

  f_open(&fil, "glolgoglgo.jpg", FA_WRITE | FA_CREATE_ALWAYS);
  UINT bw;

  f_write(&fil, IMG_20250425_000083, IMG_20250425_000083_SIZE, &bw);
  f_close(&fil);
  myprintf("FINALIZADO \r\n");'
  */

  //************************************* Recibiendo comando *************************************************************
   //Armado de Protocolo |TA|SA|PPID|PS|CRC16_0|CRC16_1|Payload[0]|CRC32_0|CRC32_1|CRC32_2|CRC32_3|
   //**********************************************************************************************************************
   //HAL_Delay(2000);

   // Reconocer el payload : lee foto desde la SD del payload y lo envia al OBC}

  bool valido = false;
  uint8_t respuesta;
  uint8_t comando_pc = 0x00;
  int estado = 0;

  /* USER CODE END 2 */

  /* Infinite loop */
  while (1)
  {

    /* USER CODE BEGIN 3 */
	  //user_loop_receiver();
	  //HAL_UART_Transmit(&huart7,cab,11,2500);// Sending in normal mode
	  //HAL_Delay(300);
	  /*
	  if (a1 == 0){
		  HAL_StatusTypeDef status_rec = HAL_UART_Receive(&LINK_UART_HANDLE,cab,11,2500);
		  if(status_rec==HAL_OK){
			  cab6 = respuesta(cab);
			  HAL_Delay(300);
			  recibido
		  }

	  }
	  */

	  while (estado == 0){
		  // agregar fucion de recibir comando por monitor serial
		  //uint8_t comando3 = recibir_comando();
		  //monitor_serial(comando_pc);

		  HAL_GPIO_TogglePin(LD2_GPIO_Port,LD2_Pin);
		  HAL_Delay(100);
		  comando_pc = recibir_comando_pc();
		  valido = monitor_serial(comando_pc);
		  if (valido == true) {
			  if (comando_pc == 0x02){
				  estado = 2;
				  //(void)monitor_serial(comando_pc);
				  break;
			  }

			  else {
				  estado = 1;
				  //(void)monitor_serial(comando_pc);
				  break;
			  }
		  }
		  else {
			  (void)monitor_serial(comando_pc);
		  }

	  }
	  while (estado ==1) {
		  (void)monitor_serial(comando_pc);
		  enviar_comando(comando_pc);
		  respuesta = recibir_comando();
		  respuesta_recibida(respuesta);
		  estado = 0;
		  break;

	  }
	  while (estado ==2){

		  (void)monitor_serial(comando_pc);
		  enviar_comando(comando_pc);
		  uart_flush_rx_polling(&LINK_UART_HANDLE);

		  user_loop_receiver_while();
		  respuesta = recibir_comando();
		  respuesta_recibida(respuesta);
		  estado = 0;
		  break;

	  }
	  /*

	  uint8_t comando3 = recibir_comando();
	  respuesta_recibida(comando3);

	  HAL_Delay(2000);
	  enviar_comando(0x01);

	  uint8_t comando = recibir_comando();
	  comando_recibido(comando);
	  enviar_comando(0x02);
	  uart_flush_rx_polling(&LINK_UART_HANDLE);
	  user_loop_receiver_while();
	  uint8_t comando2 = recibir_comando();
	  comando_recibido(comando2);
	  break;
	  */

  }
  /* USER CODE END 3 */
}

void SystemClock_Config(void)
{
  RCC_OscInitTypeDef RCC_OscInitStruct = {0};
  RCC_ClkInitTypeDef RCC_ClkInitStruct = {0};

  /** Supply configuration update enable
  */
  HAL_PWREx_ConfigSupply(PWR_LDO_SUPPLY);

  /** Configure the main internal regulator output voltage
  */
  __HAL_PWR_VOLTAGESCALING_CONFIG(PWR_REGULATOR_VOLTAGE_SCALE2);

  while(!__HAL_PWR_GET_FLAG(PWR_FLAG_VOSRDY)) {}

  /** Initializes the RCC Oscillators according to the specified parameters
  * in the RCC_OscInitTypeDef structure.
  */
  RCC_OscInitStruct.OscillatorType = RCC_OSCILLATORTYPE_HSE;
  RCC_OscInitStruct.HSEState = RCC_HSE_BYPASS;
  RCC_OscInitStruct.PLL.PLLState = RCC_PLL_ON;
  RCC_OscInitStruct.PLL.PLLSource = RCC_PLLSOURCE_HSE;
  RCC_OscInitStruct.PLL.PLLM = 1;
  RCC_OscInitStruct.PLL.PLLN = 20;
  RCC_OscInitStruct.PLL.PLLP = 2;
  RCC_OscInitStruct.PLL.PLLQ = 4;
  RCC_OscInitStruct.PLL.PLLR = 2;
  RCC_OscInitStruct.PLL.PLLRGE = RCC_PLL1VCIRANGE_3;
  RCC_OscInitStruct.PLL.PLLVCOSEL = RCC_PLL1VCOMEDIUM;
  RCC_OscInitStruct.PLL.PLLFRACN = 0;
  if (HAL_RCC_OscConfig(&RCC_OscInitStruct) != HAL_OK)
  {
    Error_Handler();
  }

  /** Initializes the CPU, AHB and APB buses clocks
  */
  RCC_ClkInitStruct.ClockType = RCC_CLOCKTYPE_HCLK|RCC_CLOCKTYPE_SYSCLK
                              |RCC_CLOCKTYPE_PCLK1|RCC_CLOCKTYPE_PCLK2
                              |RCC_CLOCKTYPE_D3PCLK1|RCC_CLOCKTYPE_D1PCLK1;
  RCC_ClkInitStruct.SYSCLKSource = RCC_SYSCLKSOURCE_PLLCLK;
  RCC_ClkInitStruct.SYSCLKDivider = RCC_SYSCLK_DIV1;
  RCC_ClkInitStruct.AHBCLKDivider = RCC_HCLK_DIV1;
  RCC_ClkInitStruct.APB3CLKDivider = RCC_APB3_DIV1;
  RCC_ClkInitStruct.APB1CLKDivider = RCC_APB1_DIV2;
  RCC_ClkInitStruct.APB2CLKDivider = RCC_APB2_DIV1;
  RCC_ClkInitStruct.APB4CLKDivider = RCC_APB4_DIV1;

  if (HAL_RCC_ClockConfig(&RCC_ClkInitStruct, FLASH_LATENCY_1) != HAL_OK)
  {
    Error_Handler();
  }
}

static void MX_SPI1_Init(void)
{

  /* SPI1 parameter configuration*/
  hspi1.Instance = SPI1;
  hspi1.Init.Mode = SPI_MODE_MASTER;
  hspi1.Init.Direction = SPI_DIRECTION_2LINES;
  hspi1.Init.DataSize = SPI_DATASIZE_8BIT;
  hspi1.Init.CLKPolarity = SPI_POLARITY_LOW;
  hspi1.Init.CLKPhase = SPI_PHASE_1EDGE;
  hspi1.Init.NSS = SPI_NSS_SOFT;
  hspi1.Init.BaudRatePrescaler = SPI_BAUDRATEPRESCALER_256;
  hspi1.Init.FirstBit = SPI_FIRSTBIT_MSB;
  hspi1.Init.TIMode = SPI_TIMODE_DISABLE;
  hspi1.Init.CRCCalculation = SPI_CRCCALCULATION_DISABLE;
  hspi1.Init.CRCPolynomial = 0x0;
  hspi1.Init.NSSPMode = SPI_NSS_PULSE_ENABLE;
  hspi1.Init.NSSPolarity = SPI_NSS_POLARITY_LOW;
  hspi1.Init.FifoThreshold = SPI_FIFO_THRESHOLD_01DATA;
  hspi1.Init.TxCRCInitializationPattern = SPI_CRC_INITIALIZATION_ALL_ZERO_PATTERN;
  hspi1.Init.RxCRCInitializationPattern = SPI_CRC_INITIALIZATION_ALL_ZERO_PATTERN;
  hspi1.Init.MasterSSIdleness = SPI_MASTER_SS_IDLENESS_00CYCLE;
  hspi1.Init.MasterInterDataIdleness = SPI_MASTER_INTERDATA_IDLENESS_00CYCLE;
  hspi1.Init.MasterReceiverAutoSusp = SPI_MASTER_RX_AUTOSUSP_DISABLE;
  hspi1.Init.MasterKeepIOState = SPI_MASTER_KEEP_IO_STATE_DISABLE;
  hspi1.Init.IOSwap = SPI_IO_SWAP_DISABLE;
  if (HAL_SPI_Init(&hspi1) != HAL_OK)
  {
    Error_Handler();
  }

}

static void MX_UART7_Init(void)
{

  huart7.Instance = UART7;
  huart7.Init.BaudRate = 9600;
  huart7.Init.WordLength = UART_WORDLENGTH_8B;
  huart7.Init.StopBits = UART_STOPBITS_1;
  huart7.Init.Parity = UART_PARITY_NONE;
  huart7.Init.Mode = UART_MODE_TX_RX;
  huart7.Init.HwFlowCtl = UART_HWCONTROL_NONE;
  huart7.Init.OverSampling = UART_OVERSAMPLING_16;
  huart7.Init.OneBitSampling = UART_ONE_BIT_SAMPLE_DISABLE;
  huart7.Init.ClockPrescaler = UART_PRESCALER_DIV1;
  huart7.AdvancedInit.AdvFeatureInit = UART_ADVFEATURE_NO_INIT;
  if (HAL_UART_Init(&huart7) != HAL_OK)
  {
    Error_Handler();
  }
  if (HAL_UARTEx_SetTxFifoThreshold(&huart7, UART_TXFIFO_THRESHOLD_1_8) != HAL_OK)
  {
    Error_Handler();
  }
  if (HAL_UARTEx_SetRxFifoThreshold(&huart7, UART_RXFIFO_THRESHOLD_1_8) != HAL_OK)
  {
    Error_Handler();
  }
  if (HAL_UARTEx_DisableFifoMode(&huart7) != HAL_OK)
  {
    Error_Handler();
  }

}

static void MX_USART2_UART_Init(void)
{

  huart2.Instance = USART2;
  huart2.Init.BaudRate = 9600;
  huart2.Init.WordLength = UART_WORDLENGTH_8B;
  huart2.Init.StopBits = UART_STOPBITS_1;
  huart2.Init.Parity = UART_PARITY_NONE;
  huart2.Init.Mode = UART_MODE_TX_RX;
  huart2.Init.HwFlowCtl = UART_HWCONTROL_NONE;
  huart2.Init.OverSampling = UART_OVERSAMPLING_16;
  huart2.Init.OneBitSampling = UART_ONE_BIT_SAMPLE_DISABLE;
  huart2.Init.ClockPrescaler = UART_PRESCALER_DIV1;
  huart2.AdvancedInit.AdvFeatureInit = UART_ADVFEATURE_NO_INIT;
  if (HAL_UART_Init(&huart2) != HAL_OK)
  {
    Error_Handler();
  }
  if (HAL_UARTEx_SetTxFifoThreshold(&huart2, UART_TXFIFO_THRESHOLD_1_8) != HAL_OK)
  {
    Error_Handler();
  }
  if (HAL_UARTEx_SetRxFifoThreshold(&huart2, UART_RXFIFO_THRESHOLD_1_8) != HAL_OK)
  {
    Error_Handler();
  }
  if (HAL_UARTEx_DisableFifoMode(&huart2) != HAL_OK)
  {
    Error_Handler();
  }

}

static void MX_USART3_UART_Init(void)
{

  huart3.Instance = USART3;
  huart3.Init.BaudRate = 115200;
  huart3.Init.WordLength = UART_WORDLENGTH_8B;
  huart3.Init.StopBits = UART_STOPBITS_1;
  huart3.Init.Parity = UART_PARITY_NONE;
  huart3.Init.Mode = UART_MODE_TX_RX;
  huart3.Init.HwFlowCtl = UART_HWCONTROL_NONE;
  huart3.Init.OverSampling = UART_OVERSAMPLING_16;
  huart3.Init.OneBitSampling = UART_ONE_BIT_SAMPLE_DISABLE;
  huart3.Init.ClockPrescaler = UART_PRESCALER_DIV1;
  huart3.AdvancedInit.AdvFeatureInit = UART_ADVFEATURE_NO_INIT;
  if (HAL_UART_Init(&huart3) != HAL_OK)
  {
    Error_Handler();
  }
  if (HAL_UARTEx_SetTxFifoThreshold(&huart3, UART_TXFIFO_THRESHOLD_1_8) != HAL_OK)
  {
    Error_Handler();
  }
  if (HAL_UARTEx_SetRxFifoThreshold(&huart3, UART_RXFIFO_THRESHOLD_1_8) != HAL_OK)
  {
    Error_Handler();
  }
  if (HAL_UARTEx_DisableFifoMode(&huart3) != HAL_OK)
  {
    Error_Handler();
  }

}

static void MX_USB_OTG_FS_PCD_Init(void)
{

  hpcd_USB_OTG_FS.Instance = USB_OTG_FS;
  hpcd_USB_OTG_FS.Init.dev_endpoints = 9;
  hpcd_USB_OTG_FS.Init.speed = PCD_SPEED_FULL;
  hpcd_USB_OTG_FS.Init.dma_enable = DISABLE;
  hpcd_USB_OTG_FS.Init.phy_itface = PCD_PHY_EMBEDDED;
  hpcd_USB_OTG_FS.Init.Sof_enable = ENABLE;
  hpcd_USB_OTG_FS.Init.low_power_enable = DISABLE;
  hpcd_USB_OTG_FS.Init.lpm_enable = DISABLE;
  hpcd_USB_OTG_FS.Init.battery_charging_enable = ENABLE;
  hpcd_USB_OTG_FS.Init.vbus_sensing_enable = ENABLE;
  hpcd_USB_OTG_FS.Init.use_dedicated_ep1 = DISABLE;
  if (HAL_PCD_Init(&hpcd_USB_OTG_FS) != HAL_OK)
  {
    Error_Handler();
  }

}

static void MX_DMA_Init(void)
{

  /* DMA controller clock enable */
  __HAL_RCC_DMA1_CLK_ENABLE();

  /* DMA interrupt init */
  /* DMA1_Stream0_IRQn interrupt configuration */
  HAL_NVIC_SetPriority(DMA1_Stream0_IRQn, 0, 0);
  HAL_NVIC_EnableIRQ(DMA1_Stream0_IRQn);

}

static void MX_GPIO_Init(void)
{
  GPIO_InitTypeDef GPIO_InitStruct = {0};

  /* GPIO Ports Clock Enable */
  __HAL_RCC_GPIOC_CLK_ENABLE();
  __HAL_RCC_GPIOF_CLK_ENABLE();
  __HAL_RCC_GPIOH_CLK_ENABLE();
  __HAL_RCC_GPIOA_CLK_ENABLE();
  __HAL_RCC_GPIOB_CLK_ENABLE();
  __HAL_RCC_GPIOE_CLK_ENABLE();
  __HAL_RCC_GPIOD_CLK_ENABLE();
  __HAL_RCC_GPIOG_CLK_ENABLE();

  /*Configure GPIO pin Output Level */
  HAL_GPIO_WritePin(GPIOB, LD1_Pin|LD3_Pin, GPIO_PIN_RESET);

  /*Configure GPIO pin Output Level */
  HAL_GPIO_WritePin(GPIOD, USB_OTG_FS_PWR_EN_Pin|SPI1_CS_Pin, GPIO_PIN_RESET);

  /*Configure GPIO pin Output Level */
  HAL_GPIO_WritePin(LD2_GPIO_Port, LD2_Pin, GPIO_PIN_RESET);

  /*Configure GPIO pin : B1_Pin */
  GPIO_InitStruct.Pin = B1_Pin;
  GPIO_InitStruct.Mode = GPIO_MODE_INPUT;
  GPIO_InitStruct.Pull = GPIO_NOPULL;
  HAL_GPIO_Init(B1_GPIO_Port, &GPIO_InitStruct);

  /*Configure GPIO pins : PC1 PC4 PC5 */
  GPIO_InitStruct.Pin = GPIO_PIN_1|GPIO_PIN_4|GPIO_PIN_5;
  GPIO_InitStruct.Mode = GPIO_MODE_AF_PP;
  GPIO_InitStruct.Pull = GPIO_NOPULL;
  GPIO_InitStruct.Speed = GPIO_SPEED_FREQ_LOW;
  GPIO_InitStruct.Alternate = GPIO_AF11_ETH;
  HAL_GPIO_Init(GPIOC, &GPIO_InitStruct);

  /*Configure GPIO pins : PA1 PA2 PA7 */
  GPIO_InitStruct.Pin = GPIO_PIN_1|GPIO_PIN_2|GPIO_PIN_7;
  GPIO_InitStruct.Mode = GPIO_MODE_AF_PP;
  GPIO_InitStruct.Pull = GPIO_NOPULL;
  GPIO_InitStruct.Speed = GPIO_SPEED_FREQ_LOW;
  GPIO_InitStruct.Alternate = GPIO_AF11_ETH;
  HAL_GPIO_Init(GPIOA, &GPIO_InitStruct);

  /*Configure GPIO pins : LD1_Pin LD3_Pin */
  GPIO_InitStruct.Pin = LD1_Pin|LD3_Pin;
  GPIO_InitStruct.Mode = GPIO_MODE_OUTPUT_PP;
  GPIO_InitStruct.Pull = GPIO_NOPULL;
  GPIO_InitStruct.Speed = GPIO_SPEED_FREQ_LOW;
  HAL_GPIO_Init(GPIOB, &GPIO_InitStruct);

  /*Configure GPIO pin : PB13 */
  GPIO_InitStruct.Pin = GPIO_PIN_13;
  GPIO_InitStruct.Mode = GPIO_MODE_AF_PP;
  GPIO_InitStruct.Pull = GPIO_NOPULL;
  GPIO_InitStruct.Speed = GPIO_SPEED_FREQ_LOW;
  GPIO_InitStruct.Alternate = GPIO_AF11_ETH;
  HAL_GPIO_Init(GPIOB, &GPIO_InitStruct);

  /*Configure GPIO pins : USB_OTG_FS_PWR_EN_Pin SPI1_CS_Pin */
  GPIO_InitStruct.Pin = USB_OTG_FS_PWR_EN_Pin|SPI1_CS_Pin;
  GPIO_InitStruct.Mode = GPIO_MODE_OUTPUT_PP;
  GPIO_InitStruct.Pull = GPIO_NOPULL;
  GPIO_InitStruct.Speed = GPIO_SPEED_FREQ_LOW;
  HAL_GPIO_Init(GPIOD, &GPIO_InitStruct);

  /*Configure GPIO pin : USB_OTG_FS_OVCR_Pin */
  GPIO_InitStruct.Pin = USB_OTG_FS_OVCR_Pin;
  GPIO_InitStruct.Mode = GPIO_MODE_IT_RISING;
  GPIO_InitStruct.Pull = GPIO_NOPULL;
  HAL_GPIO_Init(USB_OTG_FS_OVCR_GPIO_Port, &GPIO_InitStruct);

  /*Configure GPIO pins : PG11 PG13 */
  GPIO_InitStruct.Pin = GPIO_PIN_11|GPIO_PIN_13;
  GPIO_InitStruct.Mode = GPIO_MODE_AF_PP;
  GPIO_InitStruct.Pull = GPIO_NOPULL;
  GPIO_InitStruct.Speed = GPIO_SPEED_FREQ_LOW;
  GPIO_InitStruct.Alternate = GPIO_AF11_ETH;
  HAL_GPIO_Init(GPIOG, &GPIO_InitStruct);

  /*Configure GPIO pin : LD2_Pin */
  GPIO_InitStruct.Pin = LD2_Pin;
  GPIO_InitStruct.Mode = GPIO_MODE_OUTPUT_PP;
  GPIO_InitStruct.Pull = GPIO_NOPULL;
  GPIO_InitStruct.Speed = GPIO_SPEED_FREQ_LOW;
  HAL_GPIO_Init(LD2_GPIO_Port, &GPIO_InitStruct);

}

void Error_Handler(void)
{
  __disable_irq();
  while (1)
  {
  }
}
